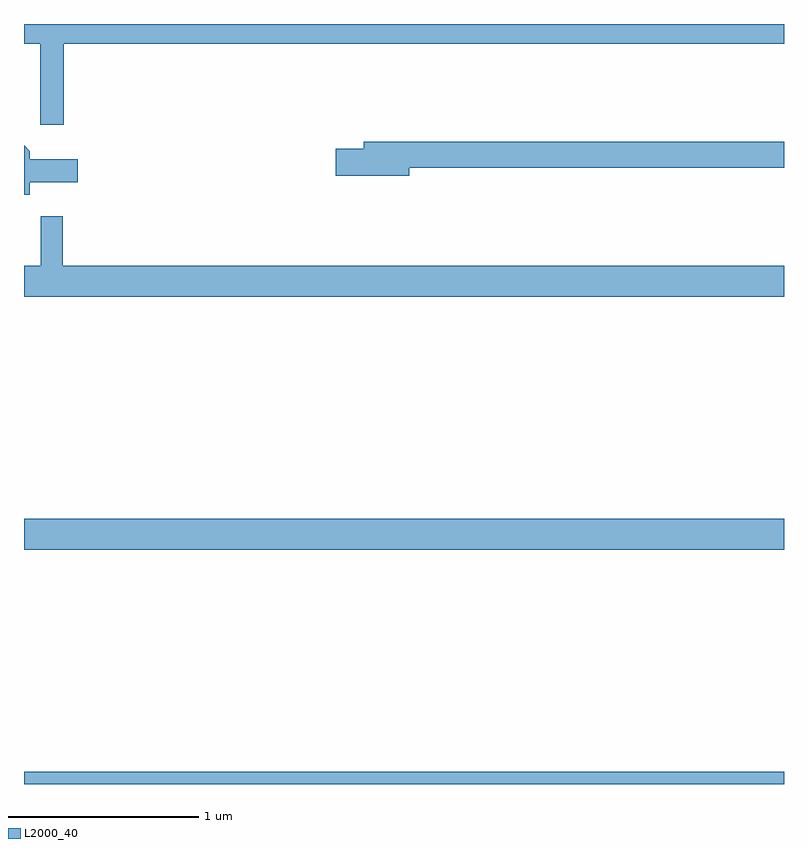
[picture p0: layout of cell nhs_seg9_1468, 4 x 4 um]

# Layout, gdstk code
import gdstk
lib = gdstk.Library(unit=1e-6, precision=1e-09)
def R(c, l, rs):  # rectangles x0, y0, x1, y1
    for r in rs: c.add(gdstk.rectangle(r[:2], r[2:], *l))
def P(c, l, *ps):  # polygons
    for p in ps: c.add(gdstk.Polygon(p, *l))
L2000_40 = (2000, 40)

nhs_seg9_1468 = lib.new_cell('nhs_seg9_1468')
R(nhs_seg9_1468, L2000_40, [(193,1216.5,197,1216.564), (193,1217.732,197,1217.896)])
P(nhs_seg9_1468, L2000_40, [(193.208,1220.396),(197,1220.396),(197,1220.5),(193,1220.5),(193,1220.396),(193.085,1220.396),(193.085,1219.971),(193.208,1219.971)],
  [(195.028,1219.744),(197,1219.744),(197,1219.88),(194.789,1219.88),(194.789,1219.844),(194.64,1219.844),(194.64,1219.702),(195.028,1219.702)],
  [(193.031,1219.667),(193.282,1219.667),(193.282,1219.789),(193.031,1219.789),(193.031,1219.83),(193,1219.861),(193,1219.602),(193.031,1219.602)],
  [(197,1219.228),(193.205,1219.228),(193.205,1219.489),(193.089,1219.489),(193.089,1219.228),(193,1219.228),(193,1219.064),(197,1219.064)])

lib.write_gds('nhs_seg9_1468.gds')
